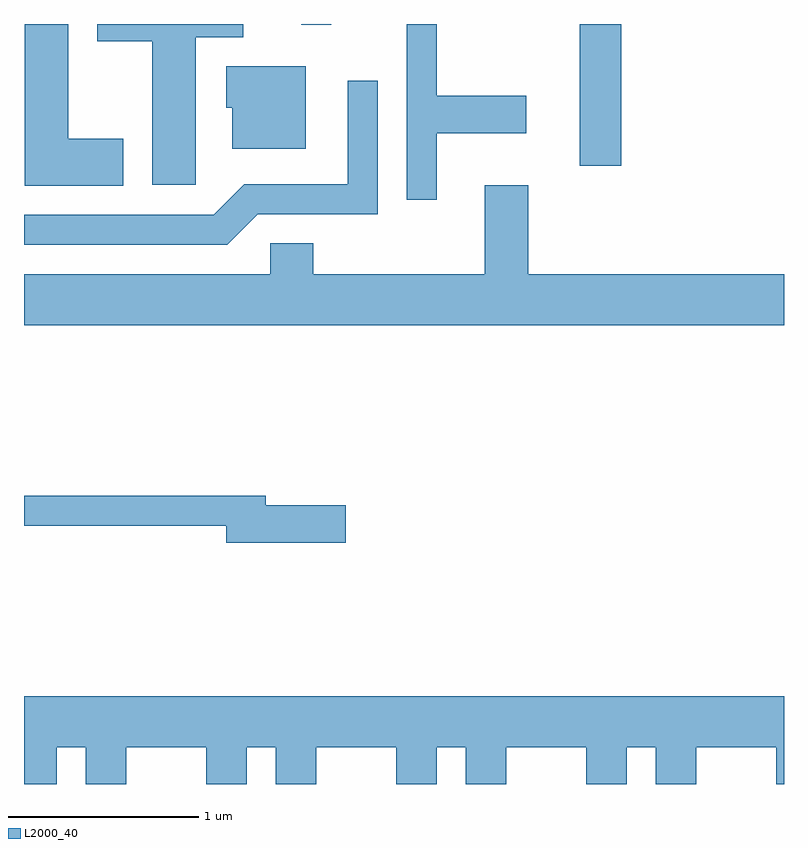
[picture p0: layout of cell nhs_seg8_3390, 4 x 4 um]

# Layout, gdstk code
import gdstk
lib = gdstk.Library(unit=1e-6, precision=1e-09)
def R(c, l, rs):  # rectangles x0, y0, x1, y1
    for r in rs: c.add(gdstk.rectangle(r[:2], r[2:], *l))
def P(c, l, *ps):  # polygons
    for p in ps: c.add(gdstk.Polygon(p, *l))
L2000_40 = (2000, 40)

nhs_seg8_3390 = lib.new_cell('nhs_seg8_3390')
R(nhs_seg8_3390, L2000_40, [(288.536,1941.596,288.754,1942.342), (287.071,1942.338,287.229,1942.342)])
P(nhs_seg8_3390, L2000_40, [(287.784,1941.766),(288.254,1941.766),(288.254,1941.964),(287.784,1941.964),(287.784,1942.342),(287.626,1942.342),(287.626,1941.418),(287.784,1941.418)],
  [(286.514,1942.271),(286.764,1942.271),(286.764,1942.342),(285.996,1942.342),(285.996,1942.251),(286.286,1942.251),(286.286,1941.496),(286.514,1941.496)],
  [(286.134,1941.739),(285.844,1941.739),(285.844,1942.342),(285.616,1942.342),(285.616,1941.491),(286.134,1941.491)],
  [(287.094,1942.119),(286.676,1942.119),(286.676,1941.901),(286.706,1941.901),(286.706,1941.686),(287.094,1941.686)],
  [(286.842,1941.341),(287.474,1941.341),(287.474,1942.043),(287.316,1942.043),(287.316,1941.499),(286.769,1941.499),(286.609,1941.339),(285.611,1941.339),(285.611,1941.181),(286.682,1941.181)],
  [(289.611,1941.024),(288.264,1941.024),(288.264,1941.494),(288.036,1941.494),(288.036,1941.024),(287.134,1941.024),(287.134,1941.189),(286.906,1941.189),(286.906,1941.024),(285.611,1941.024),(285.611,1940.756),(289.611,1940.756)],
  [(287.304,1939.809),(286.884,1939.809),(286.884,1939.859),(285.611,1939.859),(285.611,1939.701),(286.676,1939.701),(286.676,1939.611),(287.304,1939.611)],
  [(285.611,1938.342),(285.784,1938.342),(285.784,1938.536),(285.936,1938.536),(285.936,1938.342),(286.149,1938.342),(286.149,1938.536),(286.571,1938.536),(286.571,1938.342),(286.784,1938.342),(286.784,1938.536),(286.936,1938.536),(286.936,1938.342),(287.149,1938.342),(287.149,1938.536),(287.571,1938.536),(287.571,1938.342),(287.784,1938.342),(287.784,1938.536),(287.936,1938.536),(287.936,1938.342),(288.149,1938.342),(288.149,1938.536),(288.571,1938.536),(288.571,1938.342),(288.784,1938.342),(288.784,1938.536),(288.936,1938.536),(288.936,1938.342),(289.149,1938.342),(289.149,1938.536),(289.571,1938.536),(289.571,1938.342),(289.611,1938.342),(289.611,1938.804),(285.611,1938.804)])

lib.write_gds('nhs_seg8_3390.gds')
